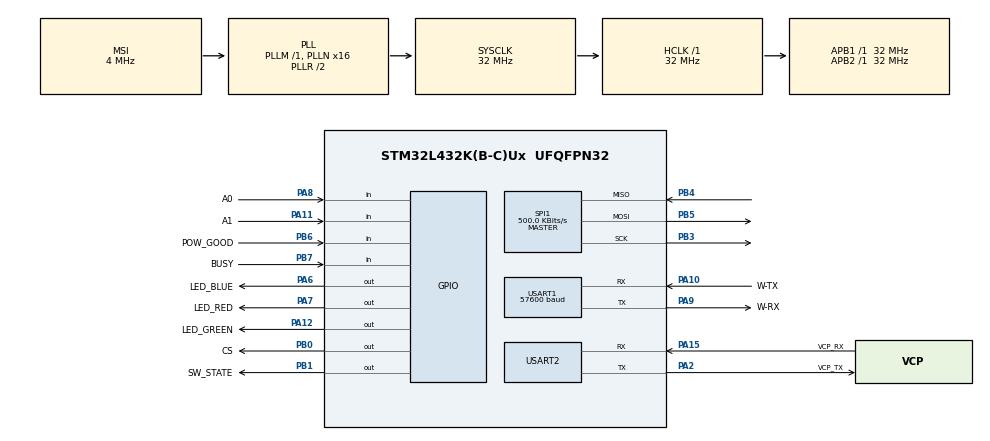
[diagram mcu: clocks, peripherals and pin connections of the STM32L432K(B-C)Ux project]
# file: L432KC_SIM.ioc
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Mcu.Family=STM32L4
Mcu.Name=STM32L432K(B-C)Ux
Mcu.Package=UFQFPN32
NVIC.PriorityGroup=NVIC_PRIORITYGROUP_4
NVIC.USART1_IRQn=true\:0\:0\:false\:false\:true\:true\:true\:true
PA0.GPIO_Label=MCO [High speed clock in]
PA0.Mode=HSE-External-Clock-Source-for-LittleOrca
PA0.Signal=RCC_CK_IN
PA10.GPIO_Label=W-TX
PA10.Mode=Asynchronous
PA10.Signal=USART1_RX
PA11.GPIO_Label=A1
PA11.Signal=GPIO_Input
PA12.GPIO_Label=LED_GREEN
PA12.Signal=GPIO_Output
PA13\ (JTMS-SWDIO).GPIO_Label=SWDIO
PA13\ (JTMS-SWDIO).Mode=Serial_Wire
PA13\ (JTMS-SWDIO).Signal=SYS_JTMS-SWDIO
PA14\ (JTCK-SWCLK).GPIO_Label=SWCLK
PA14\ (JTCK-SWCLK).Mode=Serial_Wire
PA14\ (JTCK-SWCLK).Signal=SYS_JTCK-SWCLK
PA15\ (JTDI).GPIO_Label=VCP_RX
PA15\ (JTDI).Mode=Asynchronous
PA15\ (JTDI).Signal=USART2_RX
PA2.GPIO_Label=VCP_TX
PA2.Mode=Asynchronous
PA2.Signal=USART2_TX
PA6.GPIO_Label=LED_BLUE
PA6.Signal=GPIO_Output
PA7.GPIO_Label=LED_RED
PA7.Signal=GPIO_Output
PA8.GPIO_Label=A0
PA8.Signal=GPIO_Input
PA9.GPIO_Label=W-RX
PA9.Mode=Asynchronous
PA9.Signal=USART1_TX
PB0.GPIO_Label=CS
PB0.Signal=GPIO_Output
PB1.GPIO_Label=SW_STATE
PB1.Signal=GPIO_Output
PB3\ (JTDO-TRACESWO).Mode=Full_Duplex_Master
PB3\ (JTDO-TRACESWO).Signal=SPI1_SCK
PB4\ (NJTRST).Mode=Full_Duplex_Master
PB4\ (NJTRST).Signal=SPI1_MISO
PB5.Mode=Full_Duplex_Master
PB5.Signal=SPI1_MOSI
PB6.GPIO_Label=POW_GOOD
PB6.Signal=GPIO_Input
PB7.GPIO_Label=BUSY
PB7.Signal=GPIO_Input
PC14-OSC32_IN\ (PC14).Signal=RCC_OSC32_IN
PC15-OSC32_OUT\ (PC15).Signal=RCC_OSC32_OUT
ProjectManager.HeapSize=0x200
ProjectManager.StackSize=0x400
ProjectManager.TargetToolchain=STM32CubeIDE
RCC.AHBFreq_Value=32000000
RCC.APB1Freq_Value=32000000
RCC.APB1TimFreq_Value=32000000
RCC.APB2Freq_Value=32000000
RCC.APB2TimFreq_Value=32000000
RCC.CortexFreq_Value=32000000
RCC.HCLKFreq_Value=32000000
RCC.HSE_VALUE=8000000
RCC.HSI16_VALUE=16000000
RCC.HSI48_VALUE=48000000
RCC.HSI_VALUE=16000000
RCC.MSI_VALUE=4000000
RCC.PLLMUL=RCC_PLLMUL_4
RCC.PLLN=16
RCC.SYSCLKFreq_VALUE=32000000
RCC.SYSCLKSource=RCC_SYSCLKSOURCE_PLLCLK
RCC.VCOOutputFreq_Value=64000000
SPI1.BaudRatePrescaler=SPI_BAUDRATEPRESCALER_64
SPI1.CalculateBaudRate=500.0 KBits/s
SPI1.DataSize=SPI_DATASIZE_8BIT
SPI1.Direction=SPI_DIRECTION_2LINES
SPI1.Mode=SPI_MODE_MASTER
SPI1.VirtualType=VM_MASTER
USART1.BaudRate=57600
USART1.VirtualMode-Asynchronous=VM_ASYNC
USART2.VirtualMode-Asynchronous=VM_ASYNC
board=NUCLEO-L432KC

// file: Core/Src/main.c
/* USER CODE BEGIN Header */
/**
  ******************************************************************************
  * @file           : main.c
  * @brief          : Main program body
  ******************************************************************************
  * @attention
  *
  * Copyright (c) 2024 STMicroelectronics.
  * All rights reserved.
  *
  * This software is licensed under terms that can be found in the LICENSE file
  * in the root directory of this software component.
  * If no LICENSE file comes with this software, it is provided AS-IS.
  *
  ******************************************************************************
  */
/* USER CODE END Header */
#include "main.h"

/* USER CODE BEGIN Includes */
#include <stdio.h>
#include <stdarg.h>
#include <string.h>

#include "board.h"
/* USER CODE END Includes */

/* USER CODE BEGIN PD */

#define false 0
#define true 1
#define CR 13
#define LF 10
#define LED(signal) ((signal) == 0)
/* USER CODE END PD */

SPI_HandleTypeDef hspi1;

UART_HandleTypeDef huart1;
UART_HandleTypeDef huart2;

/* USER CODE BEGIN PV */
uint32_t cycle = 0;
struct {
  uint8_t len;
  uint8_t size;
  char buf[UART1_TXSIZE];
}uart_out = {0,UART1_TXSIZE,""};

/*huart2 is for debugging output, it communicates through USB (STLink).
 *To connect from a host: python3 -m serial.tools.miniterm /dev/ttyACM0 115200
 define UART2_TXSIZE 80
struct {
  uint8_t len;
  uint8_t size;
  char buf[UART2_TXSIZE];
}dbgUart_out = {0,UART2_TXSIZE,""};
*/

// huart1 is device communication link
struct {
  uint8_t len;
  uint8_t size;
  char buf[UART1_RXSIZE];
}input_cmd = {0,UART1_RXSIZE,""};

int command_received = 0;
int RX_overrun = 0;
uint32_t lastTickMS = 0;

// global variables used in other programs
uint16_t reportingInterval = 1000;// do not report at all if it >= 32000
uint16_t receiveTimeout = 160;
uint32_t tickMS;// Tick count in milliseconds
struct DATACHUNK datachunk = {0,DATACHUNKSIZE};
uint8_t dbg = 1;// 0:no debugging, bit0:debug output to dbgUart, bits[1:7] debugging level
/* USER CODE END PV */

void SystemClock_Config(void);
static void MX_GPIO_Init(void);
static void MX_USART2_UART_Init(void);
static void MX_USART1_UART_Init(void);
static void MX_SPI1_Init(void);

/* USER CODE BEGIN 0 */
void uart_transmit(uint8_t len){
  uart_out.len = len;
  if (HAL_UART_Transmit(&huart1, (uint8_t*)&uart_out.buf, len,
			HAL_MAX_DELAY) != HAL_OK) {
    HAL_GPIO_TogglePin(LED_RED);
  }
}
void uart2_transmit(uint8_t len){
  uart_out.len = len;
  if (HAL_UART_Transmit(&huart2, (uint8_t*)&uart_out.buf, len,
			HAL_MAX_DELAY) != HAL_OK) {
      __NOP();// to place breakpoint
  }
}

void uart_printf(const char* format, ...){
  // printf to main UART
  va_list argptr;
  strcpy(uart_out.buf, "<T");
  va_start(argptr, format);
  vsnprintf(uart_out.buf+2, uart_out.size, format, argptr);
  va_end(argptr);
  int l = strlen(uart_out.buf);
  uart_out.buf[l] = '>';
  uart_out.buf[l+1] = 0;
  uart_transmit(l+1);
  if (dbg&1)
    uart2_transmit(l+1);
}
void uart_hexdump(const char* prefix, uint8_t* data, uint8_t len){
  // hexdump to main uart
  uint8_t l;
  strcpy(uart_out.buf,prefix);
  for (int i=0; i<len; i++){
      l = strlen(uart_out.buf);
      snprintf(uart_out.buf+l, uart_out.size-l, "%.2x,", data[i]);
  }
  strncat(uart_out.buf, "\n", uart_out.size);
  uart_transmit(strlen(uart_out.buf));
}
void send_toPIM(const char* prefix, int32_t* data, uint8_t len){
  // Send PIM-formatted int32_t data to main UART
  // Data will be prepended with suffix and appended with '>\n'
  uint8_t l;
  strcpy(uart_out.buf,prefix);
  for (int i=0; i<len; i++){
      l = strlen(uart_out.buf);
      snprintf(uart_out.buf+l, uart_out.size-l, "%li,", data[i]);
  }
  // replace trailing comma with '>'
  l = strlen(uart_out.buf);
  uart_out.buf[l-1] = '>';
  uart_transmit(l);
}
void printe(char* msg){
  //send error message to main UART
  snprintf(uart_out.buf, uart_out.size, "<?ERR: %s>", msg);
  uart_transmit(strlen(uart_out.buf));
  if (dbg&1)
    uart2_transmit(uart_out.len);
}
int wait_input(uint16_t timeout){
  //Returns 0: command was processed, 1: timeout, -1: filling of command buffer is not finished, -2: error
  uint8_t byte_received = 0;
  uint16_t to = timeout;
  int rxNotEmpty;
  if (to == 0){
      rxNotEmpty =  __HAL_UART_GET_FLAG(&huart1, UART_FLAG_RXNE);
      if (rxNotEmpty == 0)
	return 1;
      to = 1;
  }
  if(HAL_UART_Receive(&huart1, &byte_received, 1, to)!=HAL_OK) //if timeout
  return 1;

  // Character received
  HAL_GPIO_TogglePin(LED_BLUE);
  if (dbg&8)
    uart_printf("DBG8:char: %u\n", byte_received);

  // Process character
  if (input_cmd.len >= input_cmd.size){
      printe("uart1 RX overrun");
      input_cmd.len = 0;
      return -2;
  }else if (byte_received == SER_END_CHAR){
      // Command received, process it
      input_cmd.buf[input_cmd.len] = 0;
      board_process_cmd(input_cmd.buf);
      input_cmd.len = 0;
      return 0;
  }else if (byte_received == SER_START_CHAR){
      // Command begun
      input_cmd.len = 0;
      return -1;
  }else{
      input_cmd.buf[input_cmd.len] = byte_received;
  }
  input_cmd.len ++;
  return -1;
}
/* USER CODE END 0 */

int main(void)
{
  /* USER CODE BEGIN 1 */
  struct BOARD_RESULT statistics;
  /* USER CODE END 1 */

  /* MCU Configuration--------------------------------------------------------*/

  /* Reset of all peripherals, Initializes the Flash interface and the Systick. */
  HAL_Init();

  /* Configure the system clock */
  SystemClock_Config();

  /* Initialize all configured peripherals */
  MX_GPIO_Init();
  MX_USART2_UART_Init();
  MX_USART1_UART_Init();
  MX_SPI1_Init();
  /* USER CODE BEGIN 2 */
  board_init(&hspi1);
  /* USER CODE END 2 */

  /* Infinite loop */
  /* USER CODE BEGIN WHILE */
  while (1)
  {
    // Wait for 1 char from huart1
    //HAL_Delay(1000);
    wait_input(receiveTimeout);
    tickMS =  HAL_GetTick();
    if (board_acquire_sample() != 0){
      if (dbg&2)
	uart_printf("WAR2:ADC empty");
      HAL_GPIO_TogglePin(LED_RED);
      continue;
    }
    cycle++;
    // One ADC sample acquired and processed, update LEDs.
    HAL_GPIO_WritePin(LED_GREEN, LED(cycle&1));
    HAL_GPIO_WritePin(LED_BLUE, LED(cycle&2));
    HAL_GPIO_WritePin(LED_RED, LED(cycle&4));
    if (datachunk.len >= datachunk.size){
        // The chunk is full.
        send_toPIM("<R", datachunk.buf, datachunk.len);
        datachunk.len = 0;
    }
    if ((tickMS - lastTickMS) > reportingInterval)
      if (reportingInterval < 32000){
	// Reporting interval has elapsed. Send statistics.
	lastTickMS = tickMS;
	//uart_printf("cycle %li, @%i ms, recLimit:%i\n", cycle, tickMS, recLimit);
	statistics = board_report();
	//uart_printf("mean*10(%i)=%i, stdev*10=%i, p2p=%i\n", statistics.n, statistics.mean, statistics.stdev, statistics.peak2peak);
	send_toPIM("\n<M", (int32_t*)&statistics, 6);
	uart2_transmit(uart_out.len);
    };
    /* USER CODE END WHILE */

  }
}

void SystemClock_Config(void)
{
  RCC_OscInitTypeDef RCC_OscInitStruct = {0};
  RCC_ClkInitTypeDef RCC_ClkInitStruct = {0};

  /** Configure the main internal regulator output voltage
  */
  if (HAL_PWREx_ControlVoltageScaling(PWR_REGULATOR_VOLTAGE_SCALE1) != HAL_OK)
  {
    Error_Handler();
  }

  /** Initializes the RCC Oscillators according to the specified parameters
  * in the RCC_OscInitTypeDef structure.
  */
  RCC_OscInitStruct.OscillatorType = RCC_OSCILLATORTYPE_MSI;
  RCC_OscInitStruct.MSIState = RCC_MSI_ON;
  RCC_OscInitStruct.MSICalibrationValue = 0;
  RCC_OscInitStruct.MSIClockRange = RCC_MSIRANGE_6;
  RCC_OscInitStruct.PLL.PLLState = RCC_PLL_ON;
  RCC_OscInitStruct.PLL.PLLSource = RCC_PLLSOURCE_MSI;
  RCC_OscInitStruct.PLL.PLLM = 1;
  RCC_OscInitStruct.PLL.PLLN = 16;
  RCC_OscInitStruct.PLL.PLLP = RCC_PLLP_DIV7;
  RCC_OscInitStruct.PLL.PLLQ = RCC_PLLQ_DIV2;
  RCC_OscInitStruct.PLL.PLLR = RCC_PLLR_DIV2;
  if (HAL_RCC_OscConfig(&RCC_OscInitStruct) != HAL_OK)
  {
    Error_Handler();
  }

  /** Initializes the CPU, AHB and APB buses clocks
  */
  RCC_ClkInitStruct.ClockType = RCC_CLOCKTYPE_HCLK|RCC_CLOCKTYPE_SYSCLK
                              |RCC_CLOCKTYPE_PCLK1|RCC_CLOCKTYPE_PCLK2;
  RCC_ClkInitStruct.SYSCLKSource = RCC_SYSCLKSOURCE_PLLCLK;
  RCC_ClkInitStruct.AHBCLKDivider = RCC_SYSCLK_DIV1;
  RCC_ClkInitStruct.APB1CLKDivider = RCC_HCLK_DIV1;
  RCC_ClkInitStruct.APB2CLKDivider = RCC_HCLK_DIV1;

  if (HAL_RCC_ClockConfig(&RCC_ClkInitStruct, FLASH_LATENCY_1) != HAL_OK)
  {
    Error_Handler();
  }
}

static void MX_SPI1_Init(void)
{

  /* SPI1 parameter configuration*/
  hspi1.Instance = SPI1;
  hspi1.Init.Mode = SPI_MODE_MASTER;
  hspi1.Init.Direction = SPI_DIRECTION_2LINES;
  hspi1.Init.DataSize = SPI_DATASIZE_8BIT;
  hspi1.Init.CLKPolarity = SPI_POLARITY_LOW;
  hspi1.Init.CLKPhase = SPI_PHASE_1EDGE;
  hspi1.Init.NSS = SPI_NSS_SOFT;
  hspi1.Init.BaudRatePrescaler = SPI_BAUDRATEPRESCALER_64;
  hspi1.Init.FirstBit = SPI_FIRSTBIT_MSB;
  hspi1.Init.TIMode = SPI_TIMODE_DISABLE;
  hspi1.Init.CRCCalculation = SPI_CRCCALCULATION_DISABLE;
  hspi1.Init.CRCPolynomial = 7;
  hspi1.Init.CRCLength = SPI_CRC_LENGTH_DATASIZE;
  hspi1.Init.NSSPMode = SPI_NSS_PULSE_ENABLE;
  if (HAL_SPI_Init(&hspi1) != HAL_OK)
  {
    Error_Handler();
  }

}

static void MX_USART1_UART_Init(void)
{

  huart1.Instance = USART1;
  huart1.Init.BaudRate = 57600;
  huart1.Init.WordLength = UART_WORDLENGTH_8B;
  huart1.Init.StopBits = UART_STOPBITS_1;
  huart1.Init.Parity = UART_PARITY_NONE;
  huart1.Init.Mode = UART_MODE_TX_RX;
  huart1.Init.HwFlowCtl = UART_HWCONTROL_NONE;
  huart1.Init.OverSampling = UART_OVERSAMPLING_16;
  huart1.Init.OneBitSampling = UART_ONE_BIT_SAMPLE_DISABLE;
  huart1.AdvancedInit.AdvFeatureInit = UART_ADVFEATURE_NO_INIT;
  if (HAL_UART_Init(&huart1) != HAL_OK)
  {
    Error_Handler();
  }

}

static void MX_USART2_UART_Init(void)
{

  huart2.Instance = USART2;
  huart2.Init.BaudRate = 115200;
  huart2.Init.WordLength = UART_WORDLENGTH_8B;
  huart2.Init.StopBits = UART_STOPBITS_1;
  huart2.Init.Parity = UART_PARITY_NONE;
  huart2.Init.Mode = UART_MODE_TX_RX;
  huart2.Init.HwFlowCtl = UART_HWCONTROL_NONE;
  huart2.Init.OverSampling = UART_OVERSAMPLING_16;
  huart2.Init.OneBitSampling = UART_ONE_BIT_SAMPLE_DISABLE;
  huart2.AdvancedInit.AdvFeatureInit = UART_ADVFEATURE_NO_INIT;
  if (HAL_UART_Init(&huart2) != HAL_OK)
  {
    Error_Handler();
  }

}

static void MX_GPIO_Init(void)
{
  GPIO_InitTypeDef GPIO_InitStruct = {0};

  /* GPIO Ports Clock Enable */
  __HAL_RCC_GPIOC_CLK_ENABLE();
  __HAL_RCC_GPIOA_CLK_ENABLE();
  __HAL_RCC_GPIOB_CLK_ENABLE();

  /*Configure GPIO pin Output Level */
  HAL_GPIO_WritePin(GPIOA, LED_BLUE_Pin|LED_RED_Pin|LED_GREEN_Pin, GPIO_PIN_SET);

  /*Configure GPIO pin Output Level */
  HAL_GPIO_WritePin(CS_GPIO_Port, CS_Pin, GPIO_PIN_RESET);

  /*Configure GPIO pin Output Level */
  HAL_GPIO_WritePin(GPIOA, A0_Pin|A1_Pin, GPIO_PIN_RESET);

  /*Configure GPIO pins : LED_BLUE_Pin LED_RED_Pin A0_Pin A1_Pin
                           LED_GREEN_Pin */
  GPIO_InitStruct.Pin = LED_BLUE_Pin|LED_RED_Pin|A0_Pin|A1_Pin
                          |LED_GREEN_Pin;
  GPIO_InitStruct.Mode = GPIO_MODE_OUTPUT_PP;
  GPIO_InitStruct.Pull = GPIO_NOPULL;
  GPIO_InitStruct.Speed = GPIO_SPEED_FREQ_LOW;
  HAL_GPIO_Init(GPIOA, &GPIO_InitStruct);

  /*Configure GPIO pin : CS_Pin */
  GPIO_InitStruct.Pin = CS_Pin;
  GPIO_InitStruct.Mode = GPIO_MODE_OUTPUT_PP;
  GPIO_InitStruct.Pull = GPIO_NOPULL;
  GPIO_InitStruct.Speed = GPIO_SPEED_FREQ_LOW;
  HAL_GPIO_Init(CS_GPIO_Port, &GPIO_InitStruct);

  /*Configure GPIO pins : SW_STATE_Pin POW_GOOD_Pin BUSY_Pin */
  GPIO_InitStruct.Pin = SW_STATE_Pin|POW_GOOD_Pin|BUSY_Pin;
  GPIO_InitStruct.Mode = GPIO_MODE_INPUT;
  GPIO_InitStruct.Pull = GPIO_NOPULL;
  HAL_GPIO_Init(GPIOB, &GPIO_InitStruct);

}

void Error_Handler(void)
{
  __disable_irq();
  while (1)
  {
  }
}
